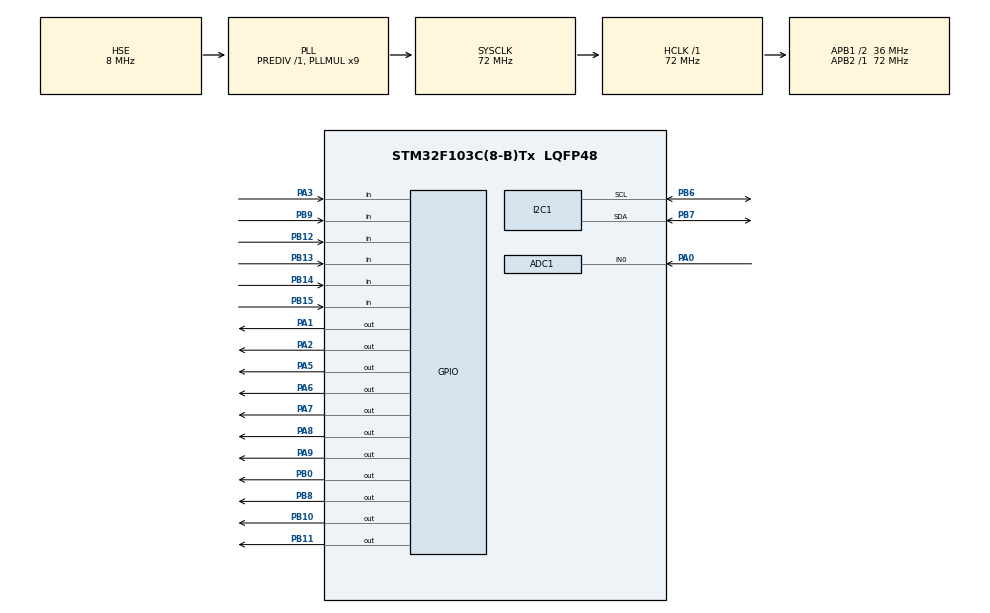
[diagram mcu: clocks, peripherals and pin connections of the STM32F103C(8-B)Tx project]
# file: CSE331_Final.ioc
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ADC1.Channel-0\#ChannelRegularConversion=ADC_CHANNEL_0
ADC1.ContinuousConvMode=ENABLE
ADC1.NbrOfConversionFlag=1
ADC1.Rank-0\#ChannelRegularConversion=1
ADC1.SamplingTime-0\#ChannelRegularConversion=ADC_SAMPLETIME_1CYCLE_5
ADC1.master=1
I2C1.I2C_Mode=I2C_Fast
Mcu.Family=STM32F1
Mcu.Name=STM32F103C(8-B)Tx
Mcu.Package=LQFP48
NVIC.PriorityGroup=NVIC_PRIORITYGROUP_4
PA0-WKUP.Signal=ADCx_IN0
PA1.GPIO_PuPd=GPIO_PULLUP
PA1.Signal=GPIO_Output
PA2.Signal=GPIO_Output
PA3.Signal=GPIO_Input
PA5.Signal=GPIO_Output
PA6.Signal=GPIO_Output
PA7.Signal=GPIO_Output
PA8.Signal=GPIO_Output
PA9.Signal=GPIO_Output
PB0.Signal=GPIO_Output
PB10.Signal=GPIO_Output
PB11.Signal=GPIO_Output
PB12.GPIO_PuPd=GPIO_PULLUP
PB12.Signal=GPIO_Input
PB13.GPIO_PuPd=GPIO_PULLUP
PB13.Signal=GPIO_Input
PB14.GPIO_PuPd=GPIO_PULLUP
PB14.Signal=GPIO_Input
PB15.GPIO_PuPd=GPIO_PULLUP
PB15.Signal=GPIO_Input
PB6.Mode=I2C
PB6.Signal=I2C1_SCL
PB7.Mode=I2C
PB7.Signal=I2C1_SDA
PB8.Signal=GPIO_Output
PB9.Signal=GPIO_Input
PD0-OSC_IN.Mode=HSE-External-Oscillator
PD0-OSC_IN.Signal=RCC_OSC_IN
PD1-OSC_OUT.Mode=HSE-External-Oscillator
PD1-OSC_OUT.Signal=RCC_OSC_OUT
ProjectManager.HeapSize=0x200
ProjectManager.StackSize=0x400
ProjectManager.TargetToolchain=STM32CubeIDE
RCC.ADCPresc=RCC_ADCPCLK2_DIV6
RCC.AHBFreq_Value=72000000
RCC.APB1CLKDivider=RCC_HCLK_DIV2
RCC.APB1Freq_Value=36000000
RCC.APB1TimFreq_Value=72000000
RCC.APB2Freq_Value=72000000
RCC.APB2TimFreq_Value=72000000
RCC.HCLKFreq_Value=72000000
RCC.PLLMUL=RCC_PLL_MUL9
RCC.PLLSourceVirtual=RCC_PLLSOURCE_HSE
RCC.SYSCLKFreq_VALUE=72000000
RCC.SYSCLKSource=RCC_SYSCLKSOURCE_PLLCLK
RCC.USBFreq_Value=72000000
SH.ADCx_IN0.0=ADC1_IN0,IN0
VP_SYS_VS_ND.Mode=No_Debug
VP_TIM1_VS_ClockSourceINT.Mode=Internal
board=custom

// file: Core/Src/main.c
/* USER CODE BEGIN Header */
/**
  ******************************************************************************
  * @file           : main.c
  * @brief          : Smart Flood Early Warning System
  ******************************************************************************
  * Sensors  : HC-SR04 (PA2/PA3), DHT11 (PA1), Soil Moisture ADC (PA0)
  * Outputs  : OLED I2C (PB6/PB7), LEDs (PA5-PA9), Buzzer (PB0)
  * Input    : 4x4 Keypad Rows PB8-PB11, Cols PB12-PB15
  * Timer    : TIM1 used for microsecond delays (prescaler set to 71 = 1us tick)
  ******************************************************************************
  */
/* USER CODE END Header */
#include "main.h"

/* USER CODE BEGIN Includes */
#include "ssd1306.h"
#include "fonts.h"
#include <string.h>
#include <stdio.h>
#include <stdlib.h>
/* USER CODE END Includes */

/* USER CODE BEGIN PTD */
typedef enum { TIER_SAFE = 0, TIER_WARNING = 1, TIER_EVACUATE = 2 } AlertTier_t;

/* Keypad-selectable OLED pages. */
typedef enum {
    SCREEN_MAIN = 0,
    SCREEN_SENSORS = 1,
    SCREEN_STATS = 2,
    SCREEN_SENSITIVITY = 3,
    SCREEN_ULTRA_DB = 4,
    SCREEN_SOIL_DRY = 5
} Screen_t;

typedef struct {
    uint8_t  buf[12];
    uint8_t  idx;
    uint8_t  count;
} RingBuf_t;

typedef struct {
    float    wl_min, wl_max;
    float    rr_min, rr_max;
    uint8_t  ri_min, ri_max;
} Stats_t;

typedef struct {
    int32_t  acc;
    uint16_t samples[8];
    uint8_t  idx;
    uint8_t  filled;
} MovAvg8_t;
/* USER CODE END PTD */

/* USER CODE BEGIN PD */
/* Distance thresholds (cm from sensor down to water surface):
   larger distance = water is safely far below = SAFE
   smaller distance = water is close to sensor  = DANGER             */
#define WL_SAFE_CM      60u
#define WL_WARN_CM      40u
#define WL_EVAC_CM      20u
#define MAX_RISE_CMS    4.0f
#define TREND_BOOST     2.5f
#define SYS_SEN_MIN     1u
#define SYS_SEN_MAX     10u
#define ULTRA_MIN_CM    2.0f
#define ULTRA_MAX_CM    250.0f
#define PSAVE_SECS      3600u
#define SAMPLE_MS       500u
#define PSAVE_MS        5000u
#define DHT_SAMPLE_MS   2000u

/* Displayed water level is inverted using this depth */
#define WL_DEPTH_CM     9.0f

/* Ultrasonic deadband tuning (key 7/9) */
#define ULTRA_DB_MIN    0.50f
#define ULTRA_DB_MAX    3.00f
#define ULTRA_DB_STEP   0.25f

/* Soil dry calibration (key 8/0) */
#define SOIL_WET_ADC    500u
#define SOIL_DRY_MIN    500u
#define SOIL_DRY_MAX    4095u
#define SOIL_DRY_STEP   150u

/* GPIO shortcuts */
#define LED_GREEN  GPIO_PIN_5
#define LED_Y1     GPIO_PIN_6
#define LED_Y2     GPIO_PIN_7
#define LED_R1     GPIO_PIN_8
#define LED_R2     GPIO_PIN_9
#define LED_PORT   GPIOA

#define BUZZER_PIN  GPIO_PIN_0
#define BUZZER_PORT GPIOB

#define TRIG_PIN  GPIO_PIN_2
#define TRIG_PORT GPIOA
#define ECHO_PIN  GPIO_PIN_3
#define ECHO_PORT GPIOA

#define DHT_PIN   GPIO_PIN_1
#define DHT_PORT  GPIOA

#define ROW1 GPIO_PIN_8
#define ROW2 GPIO_PIN_9
#define ROW3 GPIO_PIN_10
#define ROW4 GPIO_PIN_11
#define COL1 GPIO_PIN_12
#define COL2 GPIO_PIN_13
#define COL3 GPIO_PIN_14
#define COL4 GPIO_PIN_15
#define KROW_PORT GPIOB
#define KCOL_PORT GPIOB
/* USER CODE END PD */

ADC_HandleTypeDef hadc1;

I2C_HandleTypeDef hi2c1;

TIM_HandleTypeDef htim1;

/* USER CODE BEGIN PV */
static float        water_level_cm = 100.0f;
static float        water_level_display_cm = 0.0f;
static float        rise_rate_cms  = 0.0f;
static float        temperature_c  = 0.0f;
static float        humidity_pct   = 0.0f;
static uint8_t      dht_ok         = 0;       /* 1 means last DHT11 read succeeded; 0 means show DHT error */
static uint8_t      soil_pct       = 0;

static MovAvg8_t    soil_avg       = {0};
static MovAvg8_t    water_avg      = {0};           /* Moving average buffer for HC-SR04 readings */
static RingBuf_t    ri_buf         = {0};
static uint8_t      risk_index     = 0;
static AlertTier_t  current_tier   = TIER_SAFE;
static AlertTier_t  prev_tier      = TIER_SAFE;

static Stats_t      stats          = {999,0,999,0,255,0};
static uint32_t     stable_secs    = 0;
static uint8_t      power_save     = 0;
static Screen_t     current_screen = SCREEN_MAIN;  /* Starts on summary page; keypad changes this */
static uint8_t      buzzer_muted   = 0;
static uint8_t      ultrasonic_ready = 0;           /* Becomes 1 after the first valid ultrasonic reading */
static uint8_t      sys_sen        = 5;             /* System sensitivity: key 5 lowers, key 6 raises */
static float        ultra_deadband_cm = 2.00f;      /* Ultrasonic deadband: key 7 lowers, key 9 raises */
static uint16_t     soil_dry_adc   = 3500;          /* Soil dry calibration: key 8 lowers, key 0 raises */
static uint32_t     sensitivity_screen_until = 0;   /* Time until the temporary SYS_SEN screen closes */
static uint32_t     ultra_screen_until = 0;         /* Time until ultrasonic deadband screen closes */
static uint32_t     soil_screen_until = 0;          /* Time until soil dry calibration screen closes */

static uint32_t     last_sample_ms = 0;
static uint32_t     last_dht_ms    = 0;
static uint32_t     last_sec_ms    = 0;
static uint32_t     last_buzz_ms   = 0;
/* USER CODE END PV */

void SystemClock_Config(void);
static void MX_GPIO_Init(void);
static void MX_ADC1_Init(void);
static void MX_I2C1_Init(void);
static void MX_TIM1_Init(void);
/* USER CODE BEGIN PFP */
static void        micro_delay(uint16_t us);
static float       HCSR04_Read_cm(void);
static void        DHT11_SetOutput(void);
static void        DHT11_SetInput(void);
static uint8_t     DHT11_Read(float *temp, float *hum);
static uint8_t     Soil_Read(void);
static uint8_t     Normalise(float val, float lo, float hi);
static void        RingBuf_Push(RingBuf_t *rb, uint8_t val);
static float       WaterAvg_Push(float cm);
static void        FormatFloat1(char *out, uint8_t out_size, float val);
static void        FormatFloat2(char *out, uint8_t out_size, float val);
static float       LeastSquaresSlope(RingBuf_t *rb);
static AlertTier_t Classify(uint8_t ri, float trend);
static void        Stats_Update(float wl, float rr, uint8_t ri);
static void        LED_SetTier(AlertTier_t tier);
static void        Buzzer_Update(AlertTier_t tier);
static char        Keypad_Scan(void);
static const char* TierText(AlertTier_t tier);
static void        OLED_ApplyDangerTheme(void);
static void        OLED_DrawRiskBar(uint8_t x0, uint8_t y0, uint8_t width, uint8_t height, uint8_t risk);
static void        OLED_MainScreen(void);
static void        OLED_SensorScreen(void);
static void        OLED_StatsScreen(void);
static void        OLED_SensitivityScreen(void);
static void        OLED_UltraDeadbandScreen(void);
static void        OLED_SoilDryScreen(void);
static void        EnterPowerSave(void);
static void        ExitPowerSave(void);
static float       WaterLevel_Display(float distance_cm);
/* USER CODE END PFP */

/* USER CODE BEGIN 0 */

/* ── Microsecond delay via TIM1 (prescaler 71 → 1 tick = 1 us @ 72 MHz) ── */
static void micro_delay(uint16_t us)
{
    __HAL_TIM_SET_COUNTER(&htim1, 0);
    while (__HAL_TIM_GET_COUNTER(&htim1) < us);
}

/* ── HC-SR04: 5-sample median, returns distance in cm ── */
static int cmp_u32(const void *a, const void *b)
{
    uint32_t ua = *(const uint32_t *)a;
    uint32_t ub = *(const uint32_t *)b;
    return (ua > ub) - (ua < ub);
}

static float HCSR04_Read_cm(void)
{
    uint32_t samples[5];
    for (int i = 0; i < 5; i++) {
        HAL_GPIO_WritePin(TRIG_PORT, TRIG_PIN, GPIO_PIN_SET);
        micro_delay(10);
        HAL_GPIO_WritePin(TRIG_PORT, TRIG_PIN, GPIO_PIN_RESET);

        uint32_t t = HAL_GetTick();
        while (!HAL_GPIO_ReadPin(ECHO_PORT, ECHO_PIN)) {
            if (HAL_GetTick() - t > 30) { samples[i] = 0; goto next; }
        }
        __HAL_TIM_SET_COUNTER(&htim1, 0);
        t = HAL_GetTick();
        while (HAL_GPIO_ReadPin(ECHO_PORT, ECHO_PIN)) {
            if (HAL_GetTick() - t > 50) break;
        }
        samples[i] = __HAL_TIM_GET_COUNTER(&htim1);
        next:
        HAL_Delay(5);
    }
    qsort(samples, 5, sizeof(uint32_t), cmp_u32);
    return (float)samples[2] * 0.034f / 2.0f;
}

/* ── DHT11 pin-mode helpers ── */
static void DHT11_SetOutput(void)
{
    GPIO_InitTypeDef g = {0};
    g.Pin   = DHT_PIN;
    g.Mode  = GPIO_MODE_OUTPUT_PP;
    g.Pull  = GPIO_NOPULL;
    g.Speed = GPIO_SPEED_FREQ_LOW;
    HAL_GPIO_Init(DHT_PORT, &g);
}

static void DHT11_SetInput(void)
{
    GPIO_InitTypeDef g = {0};
    g.Pin  = DHT_PIN;
    g.Mode = GPIO_MODE_INPUT;
    g.Pull = GPIO_PULLUP;
    HAL_GPIO_Init(DHT_PORT, &g);
}

/* ── DHT11 read — returns 1 on success ── */
static uint8_t DHT11_Read(float *temp, float *hum)
{
    uint8_t data[5] = {0};

    DHT11_SetOutput();
    HAL_GPIO_WritePin(DHT_PORT, DHT_PIN, GPIO_PIN_RESET);
    HAL_Delay(18);
    HAL_GPIO_WritePin(DHT_PORT, DHT_PIN, GPIO_PIN_SET);
    micro_delay(30);
    DHT11_SetInput();

    micro_delay(40);
    if (HAL_GPIO_ReadPin(DHT_PORT, DHT_PIN)) goto fail;
    micro_delay(80);
    if (!HAL_GPIO_ReadPin(DHT_PORT, DHT_PIN)) goto fail;
    micro_delay(80);

    for (int i = 0; i < 5; i++) {
        for (int b = 7; b >= 0; b--) {
            uint32_t t = HAL_GetTick();
            while (!HAL_GPIO_ReadPin(DHT_PORT, DHT_PIN)) {
                if (HAL_GetTick() - t > 5) goto fail;
            }
            micro_delay(40);
            if (HAL_GPIO_ReadPin(DHT_PORT, DHT_PIN)) {
                data[i] |= (1 << b);
                t = HAL_GetTick();
                while (HAL_GPIO_ReadPin(DHT_PORT, DHT_PIN)) {
                    if (HAL_GetTick() - t > 5) goto fail;
                }
            }
        }
    }

    if ((uint8_t)(data[0] + data[1] + data[2] + data[3]) != data[4]) goto fail;
    *hum  = (float)data[0] + data[1] * 0.1f;
    *temp = (float)data[2] + data[3] * 0.1f;
    DHT11_SetOutput();
    HAL_GPIO_WritePin(DHT_PORT, DHT_PIN, GPIO_PIN_SET);
    return 1;

fail:
    DHT11_SetOutput();
    HAL_GPIO_WritePin(DHT_PORT, DHT_PIN, GPIO_PIN_SET);
    return 0;
}

/* ── Soil moisture via ADC (8-sample moving average) ── */
static uint8_t Soil_Read(void)
{
    HAL_ADC_Start(&hadc1);
    HAL_ADC_PollForConversion(&hadc1, 100);
    uint16_t raw = (uint16_t)HAL_ADC_GetValue(&hadc1);
    HAL_ADC_Stop(&hadc1);

    soil_avg.acc -= soil_avg.samples[soil_avg.idx];
    soil_avg.samples[soil_avg.idx] = raw;
    soil_avg.acc += raw;
    soil_avg.idx = (soil_avg.idx + 1) % 8;
    if (!soil_avg.filled && soil_avg.idx == 0) soil_avg.filled = 1;

    uint16_t n   = soil_avg.filled ? 8 : (soil_avg.idx ? soil_avg.idx : 1);
    uint16_t avg = (uint16_t)(soil_avg.acc / n);

    uint16_t dry = soil_dry_adc;
    if (dry <= SOIL_WET_ADC) dry = SOIL_WET_ADC + 1;

    if (avg > dry) avg = dry;
    if (avg < SOIL_WET_ADC) avg = SOIL_WET_ADC;

    return (uint8_t)(100 - ((avg - SOIL_WET_ADC) * 100 / (dry - SOIL_WET_ADC)));
}

/* ── Normalise value [lo, hi] → [0, 100] ── */
static uint8_t Normalise(float val, float lo, float hi)
{
    if (val <= lo) return 0;
    if (val >= hi) return 100;
    return (uint8_t)((val - lo) * 100.0f / (hi - lo));
}

/* ── Ring buffer push ── */
static void RingBuf_Push(RingBuf_t *rb, uint8_t val)
{
    rb->buf[rb->idx] = val;
    rb->idx = (rb->idx + 1) % 12;
    if (rb->count < 12) rb->count++;
}

/* HC-SR04 moving average after the median filter.
   The median removes sudden spikes; this average smooths the remaining small movement. */
static float WaterAvg_Push(float cm)
{
    uint16_t cm_x10 = (uint16_t)(cm * 10.0f);                 /* Store one decimal place as an integer */
    water_avg.acc -= water_avg.samples[water_avg.idx];        /* Remove oldest sample from total */
    water_avg.samples[water_avg.idx] = cm_x10;                /* Save newest filtered water distance */
    water_avg.acc += cm_x10;                                  /* Add newest sample to total */
    water_avg.idx = (water_avg.idx + 1) % 8;                  /* Move circular-buffer index */
    if (!water_avg.filled && water_avg.idx == 0) water_avg.filled = 1; /* Mark full after 8 samples */

    uint16_t n = water_avg.filled ? 8 : (water_avg.idx ? water_avg.idx : 1); /* Average only real samples */
    return ((float)water_avg.acc / (float)n) / 10.0f;          /* Convert back from x10 cm to cm */
}

/* Formats a float with 1 decimal without using printf("%f").
   STM32 newlib-nano often disables float printf, so this keeps OLED values visible. */
static void FormatFloat1(char *out, uint8_t out_size, float val)
{
    int32_t scaled = (int32_t)(val * 10.0f + (val >= 0.0f ? 0.5f : -0.5f)); /* Round to 1 decimal */
    int32_t whole = scaled / 10;                                            /* Digits before decimal */
    int32_t frac  = scaled % 10;                                            /* One digit after decimal */
    if (frac < 0) frac = -frac;                                             /* Keep decimal digit positive */
    snprintf(out, out_size, "%ld.%ld", (long)whole, (long)frac);            /* Integer printf works on nano */
}

/* Same as FormatFloat1, but keeps 2 decimal places for rise rate. */
static void FormatFloat2(char *out, uint8_t out_size, float val)
{
    int32_t scaled = (int32_t)(val * 100.0f + (val >= 0.0f ? 0.5f : -0.5f)); /* Round to 2 decimals */
    int32_t whole = scaled / 100;                                           /* Digits before decimal */
    int32_t frac  = scaled % 100;                                           /* Two digits after decimal */
    if (frac < 0) frac = -frac;                                             /* Keep decimal digits positive */
    snprintf(out, out_size, "%ld.%02ld", (long)whole, (long)frac);          /* Integer printf avoids %f */
}

/* ── Least-squares slope over ring buffer (trend engine) ── */
static float LeastSquaresSlope(RingBuf_t *rb)
{
    if (rb->count < 4) return 0.0f;
    float n = (float)rb->count;
    float sx = 0, sy = 0, sxy = 0, sx2 = 0;
    for (uint8_t i = 0; i < rb->count; i++) {
        uint8_t real_idx = (uint8_t)((rb->idx + 12 - rb->count + i) % 12);
        float x = (float)i;
        float y = (float)rb->buf[real_idx];
        sx  += x;  sy  += y;
        sxy += x * y;  sx2 += x * x;
    }
    float denom = n * sx2 - sx * sx;
    return (denom == 0.0f) ? 0.0f : (n * sxy - sx * sy) / denom;
}

/* ── Alert tier classification with hysteresis + predictive boost ── */
static AlertTier_t Classify(uint8_t ri, float trend)
{
    AlertTier_t t;
    if      (ri >= 75) t = TIER_EVACUATE;
    else if (ri >= 40) t = TIER_WARNING;
    else               t = TIER_SAFE;

    if (trend > TREND_BOOST && t < TIER_EVACUATE)
        t = (AlertTier_t)(t + 1);

    if (t < current_tier) {
        if (current_tier == TIER_EVACUATE && ri > 70) t = TIER_EVACUATE;
        if (current_tier == TIER_WARNING   && ri > 35) t = TIER_WARNING;
    }
    return t;
}

/* ── Session statistics update ── */
static void Stats_Update(float wl, float rr, uint8_t ri)
{
    if (wl < stats.wl_min) stats.wl_min = wl;
    if (wl > stats.wl_max) stats.wl_max = wl;
    if (rr < stats.rr_min) stats.rr_min = rr;
    if (rr > stats.rr_max) stats.rr_max = rr;
    if (ri < stats.ri_min) stats.ri_min = ri;
    if (ri > stats.ri_max) stats.ri_max = ri;
}

/* ── LED output ── */
static void LED_SetTier(AlertTier_t tier)
{
    HAL_GPIO_WritePin(LED_PORT,
        LED_GREEN | LED_Y1 | LED_Y2 | LED_R1 | LED_R2, GPIO_PIN_RESET);

    uint16_t active_leds[5];
    uint8_t count = 0;

    /* Build sequence of LEDs that should be on based on risk */
    if (risk_index >= 0)  active_leds[count++] = LED_GREEN;
    if (risk_index >= 20) active_leds[count++] = LED_Y1;
    if (risk_index >= 40) active_leds[count++] = LED_Y2;
    if (risk_index >= 60) active_leds[count++] = LED_R1;
    if (risk_index >= 80) active_leds[count++] = LED_R2;

    /* Software multiplexing: light one LED at a time per loop to fix
       shared-resistor hardware voltage drop issues. The eye sees all of them on. */
    static uint8_t mux_idx = 0;
    mux_idx = (mux_idx + 1) % count;

    if (tier == TIER_EVACUATE) {
        if ((HAL_GetTick() / 125) % 2)
            HAL_GPIO_WritePin(LED_PORT, active_leds[mux_idx], GPIO_PIN_SET); /* Danger: blink all active LEDs */
    } else {
        HAL_GPIO_WritePin(LED_PORT, active_leds[mux_idx], GPIO_PIN_SET);     /* Normal: solid LEDs based on risk */
    }
}

/* ── Non-blocking buzzer ── */
static void Buzzer_Update(AlertTier_t tier)
{
    if (buzzer_muted || tier == TIER_SAFE) {
        HAL_GPIO_WritePin(BUZZER_PORT, BUZZER_PIN, GPIO_PIN_RESET);
        return;
    }
    uint32_t interval = (tier == TIER_WARNING) ? 500u : 125u;
    if (HAL_GetTick() - last_buzz_ms >= interval) {
        HAL_GPIO_TogglePin(BUZZER_PORT, BUZZER_PIN);
        last_buzz_ms = HAL_GetTick();
    }
}

/* ── 4x4 Keypad scan — returns key char, 0 if none pressed ── */
static char Keypad_Scan(void)
{
    static const char keys[4][4] = {
        {'1','2','3','A'},
        {'4','5','6','B'},
        {'7','8','9','C'},
        {'*','0','#','D'}
    };
    const uint16_t rows[4] = {ROW1, ROW2, ROW3, ROW4};
    const uint16_t cols[4] = {COL1, COL2, COL3, COL4};

    for (int r = 0; r < 4; r++) {
        HAL_GPIO_WritePin(KROW_PORT, ROW1 | ROW2 | ROW3 | ROW4, GPIO_PIN_SET);
        HAL_GPIO_WritePin(KROW_PORT, rows[r], GPIO_PIN_RESET);
        HAL_Delay(1);
        for (int c = 0; c < 4; c++) {
            if (!HAL_GPIO_ReadPin(KCOL_PORT, cols[c])) {
                HAL_Delay(20);
                if (!HAL_GPIO_ReadPin(KCOL_PORT, cols[c])) {
                    while (!HAL_GPIO_ReadPin(KCOL_PORT, cols[c]));
                    HAL_GPIO_WritePin(KROW_PORT,
                        ROW1 | ROW2 | ROW3 | ROW4, GPIO_PIN_SET);
                    return keys[r][c];
                }
            }
        }
    }
    HAL_GPIO_WritePin(KROW_PORT, ROW1 | ROW2 | ROW3 | ROW4, GPIO_PIN_SET);
    return 0;
}

/* Returns simple text for the alert tier so every OLED page can print it. */
static const char* TierText(AlertTier_t tier)
{
    switch (tier) {
        case TIER_SAFE:     return "SAFE";      /* Water/risk is currently low */
        case TIER_WARNING:  return "WARNING";   /* Risk is medium; be careful */
        case TIER_EVACUATE: return "EVACUATE";  /* Risk is high; alarm state */
        default:            return "UNKNOWN";   /* Backup text if tier is invalid */
    }
}

/* SSD1306 OLED is black/white only, so danger "red theme" is shown by flashing/inverting the display. */
static void OLED_ApplyDangerTheme(void)
{
    if (current_tier == TIER_EVACUATE) {                    /* Only use the alert theme at danger level */
        SSD1306_InvertDisplay((HAL_GetTick() / 250u) % 2u); /* Blink every 250 ms to imitate a red alert */
    } else {
        SSD1306_InvertDisplay(0);                           /* Keep normal black background when not danger */
    }
}

/* Draws a risk bar with 3 visual "color" zones: safe, warning, danger.
   Because SSD1306 is monochrome, patterns are used instead of real colors:
   safe = thin solid line, warning = striped fill, danger = full bright fill. */
static void OLED_DrawRiskBar(uint8_t x0, uint8_t y0, uint8_t width, uint8_t height, uint8_t risk)
{
    uint8_t fill_width = (uint8_t)((uint16_t)risk * width / 100u); /* Converts 0-100 risk into pixel width */
    uint8_t warn_x     = (uint8_t)(width * 40u / 100u);            /* Warning starts around RI 40 */
    uint8_t danger_x   = (uint8_t)(width * 75u / 100u);            /* Evacuate/danger starts around RI 75 */

    SSD1306_DrawRectangle(x0, y0, width + 1u, height + 1u, SSD1306_COLOR_WHITE); /* White outline of bar */
    SSD1306_DrawLine(x0 + warn_x, y0, x0 + warn_x, y0 + height, SSD1306_COLOR_WHITE);     /* Safe/warning mark */
    SSD1306_DrawLine(x0 + danger_x, y0, x0 + danger_x, y0 + height, SSD1306_COLOR_WHITE); /* Warning/danger mark */

    for (uint8_t x = 0; x < fill_width; x++) {
        if (x < warn_x) {
            SSD1306_DrawPixel(x0 + 1u + x, y0 + height - 1u, SSD1306_COLOR_WHITE); /* Safe zone: low thin fill */
        } else if (x < danger_x) {
            for (uint8_t y = 1u; y < height; y++) {
                if (((x + y) % 2u) == 0u) {                       /* Warning zone: checker/stripe pattern */
                    SSD1306_DrawPixel(x0 + 1u + x, y0 + y, SSD1306_COLOR_WHITE);
                }
            }
        } else {
            SSD1306_DrawLine(x0 + 1u + x, y0 + 1u, x0 + 1u + x, y0 + height - 1u,
                             SSD1306_COLOR_WHITE);                /* Danger zone: solid bright fill */
        }
    }
}

/* ── OLED main screen ──
   Layout (128x64, Font_7x10 = 7px wide, 10px tall → 18 chars/line, 6 lines)
   y=0  : Tier banner
   y=12 : Water level + rise rate
   y=24 : Humidity + soil
   y=36 : Risk index
   y=48 : Progress bar (3px tall)
   y=54 : Key hints                                                         */
static void OLED_MainScreen(void)
{
    char buf[32];
    char wl_txt[12], rr_txt[12], t_txt[12], h_txt[12]; /* Text versions of float values for OLED */

    /* Cast away const — library expects char*, not const char* */
    char *tier_labels[3] = {"   ** SAFE **   ",
                            "  ** WARNING ** ",
                            "  !!EVACUATE!!  "};

    OLED_ApplyDangerTheme();                 /* Danger level flashes/inverts the OLED like a red alert theme */
    SSD1306_Fill(SSD1306_COLOR_BLACK);

    SSD1306_GotoXY(0, 0);
    SSD1306_Puts(tier_labels[current_tier], &Font_7x10, SSD1306_COLOR_WHITE);

    FormatFloat1(wl_txt, sizeof(wl_txt), water_level_display_cm); /* Display inverted water level */
    FormatFloat2(rr_txt, sizeof(rr_txt), rise_rate_cms);          /* Convert rise rate without using %f */
    snprintf(buf, sizeof(buf), "WL:%scm R:%s", wl_txt, rr_txt);   /* Bigger buffer avoids truncation warning */
    SSD1306_GotoXY(0, 12);
    SSD1306_Puts(buf, &Font_7x10, SSD1306_COLOR_WHITE);

    if (dht_ok) {
        FormatFloat1(t_txt, sizeof(t_txt), temperature_c); /* Convert DHT temperature without using %f */
        FormatFloat1(h_txt, sizeof(h_txt), humidity_pct);  /* Convert DHT humidity without using %f */
        snprintf(buf, sizeof(buf), "T:%sC H:%s%%", t_txt, h_txt); /* DHT11 temperature + humidity */
    } else {
        snprintf(buf, sizeof(buf), "DHT:ERR check wire");  /* Shows failure instead of misleading 0 values */
    }
    SSD1306_GotoXY(0, 24);
    SSD1306_Puts(buf, &Font_7x10, SSD1306_COLOR_WHITE);

    snprintf(buf, sizeof(buf), "SOIL:%3d%% RI:%3d", soil_pct, risk_index); /* Soil ADC reading + final risk index */
    SSD1306_GotoXY(0, 36);
    SSD1306_Puts(buf, &Font_7x10, SSD1306_COLOR_WHITE);

    OLED_DrawRiskBar(0, 47, 126, 5, risk_index); /* Patterned risk bar: safe/warning/danger zones */

    if (power_save) {
        SSD1306_GotoXY(0, 54);
        SSD1306_Puts("PWR-SAVE [*]=wake", &Font_7x10, SSD1306_COLOR_WHITE);
    } else {
        snprintf(buf, sizeof(buf), "SYS_SEN:%02d 5/6", sys_sen); /* Menu shows sensitivity; key 5 lowers and 6 raises */
        SSD1306_GotoXY(0, 54);
        SSD1306_Puts(buf, &Font_7x10, SSD1306_COLOR_WHITE);
    }

    SSD1306_UpdateScreen();
}

/* OLED page that shows all live sensor readings together.
   Press keypad key 3 to switch between this page and summary. */
static void OLED_SensorScreen(void)
{
    char buf[32];  /* Bigger than OLED line so snprintf never truncates before drawing */
    char wl_txt[12], rr_txt[12], t_txt[12], h_txt[12]; /* Float text buffers that avoid printf("%f") */

    OLED_ApplyDangerTheme();                 /* Keep same danger alert theme on the sensor page */
    SSD1306_Fill(SSD1306_COLOR_BLACK);

    snprintf(buf, sizeof(buf), "DATA:%s S:%02d", TierText(current_tier), sys_sen); /* Tier + SYS_SEN always visible */
    SSD1306_GotoXY(0, 0);
    SSD1306_Puts(buf, &Font_7x10, SSD1306_COLOR_WHITE);

    FormatFloat1(wl_txt, sizeof(wl_txt), water_level_display_cm); /* Display inverted water level */
    snprintf(buf, sizeof(buf), "WL:%scm", wl_txt); /* HC-SR04 water level */
    SSD1306_GotoXY(0, 12);
    SSD1306_Puts(buf, &Font_7x10, SSD1306_COLOR_WHITE);

    FormatFloat2(rr_txt, sizeof(rr_txt), rise_rate_cms); /* Convert rise rate without using %f */
    snprintf(buf, sizeof(buf), "Rise:%scm/s", rr_txt); /* Calculated speed of rising water */
    SSD1306_GotoXY(0, 22);
    SSD1306_Puts(buf, &Font_7x10, SSD1306_COLOR_WHITE);

    if (dht_ok) {
        FormatFloat1(t_txt, sizeof(t_txt), temperature_c); /* Convert DHT temperature without using %f */
        FormatFloat1(h_txt, sizeof(h_txt), humidity_pct);  /* Convert DHT humidity without using %f */
        snprintf(buf, sizeof(buf), "T:%sC H:%s%%", t_txt, h_txt); /* DHT11 readings */
    } else {
        snprintf(buf, sizeof(buf), "DHT:ERR check wire");  /* DHT11 did not return a valid checksum */
    }
    SSD1306_GotoXY(0, 32);
    SSD1306_Puts(buf, &Font_7x10, SSD1306_COLOR_WHITE);

    snprintf(buf, sizeof(buf), "Soil:%3d%% RI:%3d", soil_pct, risk_index); /* Soil moisture + Risk Index */
    SSD1306_GotoXY(0, 42);
    SSD1306_Puts(buf, &Font_7x10, SSD1306_COLOR_WHITE);

    snprintf(buf, sizeof(buf), "5- 6+  4Stats"); /* Key hints for sensitivity and min/max page */
    SSD1306_GotoXY(0, 52);
    SSD1306_Puts(buf, &Font_7x10, SSD1306_COLOR_WHITE);

    SSD1306_UpdateScreen();
}

/* Temporary screen shown after changing SYS_SEN so you can see the new value clearly. */
static void OLED_SensitivityScreen(void)
{
    char buf[32];
    char wl_txt[12]; /* Float text buffer that avoids printf("%f") */

    OLED_ApplyDangerTheme();                     /* Still keep danger flashing if flood state is high */
    SSD1306_Fill(SSD1306_COLOR_BLACK);

    SSD1306_GotoXY(0, 0);
    SSD1306_Puts("SENSITIVITY", &Font_7x10, SSD1306_COLOR_WHITE);

    snprintf(buf, sizeof(buf), "SYS_SEN: %02d/10", sys_sen); /* Large clear sensitivity value */
    SSD1306_GotoXY(0, 16);
    SSD1306_Puts(buf, &Font_7x10, SSD1306_COLOR_WHITE);

    SSD1306_GotoXY(0, 32);
    SSD1306_Puts("5=LOW 6=HIGH", &Font_7x10, SSD1306_COLOR_WHITE); /* 5 also works for your keypad habit */

    FormatFloat1(wl_txt, sizeof(wl_txt), water_level_display_cm); /* Display inverted water level */
    snprintf(buf, sizeof(buf), "WL:%s RI:%3d", wl_txt, risk_index); /* Show live effect while tuning */
    SSD1306_GotoXY(0, 48);
    SSD1306_Puts(buf, &Font_7x10, SSD1306_COLOR_WHITE);

    SSD1306_UpdateScreen();
}

/* Temporary screen shown after changing ultrasonic deadband. */
static void OLED_UltraDeadbandScreen(void)
{
    char buf[32];
    char db_txt[12], min_txt[12], max_txt[12];

    OLED_ApplyDangerTheme();
    SSD1306_Fill(SSD1306_COLOR_BLACK);

    SSD1306_GotoXY(0, 0);
    SSD1306_Puts("ULTRA DEADBAND", &Font_7x10, SSD1306_COLOR_WHITE);

    FormatFloat2(db_txt, sizeof(db_txt), ultra_deadband_cm);
    snprintf(buf, sizeof(buf), "DB:%scm", db_txt);
    SSD1306_GotoXY(0, 16);
    SSD1306_Puts(buf, &Font_7x10, SSD1306_COLOR_WHITE);

    FormatFloat2(min_txt, sizeof(min_txt), ULTRA_DB_MIN);
    FormatFloat2(max_txt, sizeof(max_txt), ULTRA_DB_MAX);
    snprintf(buf, sizeof(buf), "MIN:%s MAX:%s", min_txt, max_txt);
    SSD1306_GotoXY(0, 32);
    SSD1306_Puts(buf, &Font_7x10, SSD1306_COLOR_WHITE);

    SSD1306_GotoXY(0, 48);
    SSD1306_Puts("7=LOW 9=HIGH", &Font_7x10, SSD1306_COLOR_WHITE);

    SSD1306_UpdateScreen();
}

/* Temporary screen shown after changing soil dry calibration. */
static void OLED_SoilDryScreen(void)
{
    char buf[32];

    OLED_ApplyDangerTheme();
    SSD1306_Fill(SSD1306_COLOR_BLACK);

    SSD1306_GotoXY(0, 0);
    SSD1306_Puts("SOIL DRY CAL", &Font_7x10, SSD1306_COLOR_WHITE);

    snprintf(buf, sizeof(buf), "DRY:%4u", soil_dry_adc);
    SSD1306_GotoXY(0, 16);
    SSD1306_Puts(buf, &Font_7x10, SSD1306_COLOR_WHITE);

    snprintf(buf, sizeof(buf), "MIN:%u MAX:%u", SOIL_DRY_MIN, SOIL_DRY_MAX);
    SSD1306_GotoXY(0, 32);
    SSD1306_Puts(buf, &Font_7x10, SSD1306_COLOR_WHITE);

    SSD1306_GotoXY(0, 48);
    SSD1306_Puts("8=LOW 0=HIGH", &Font_7x10, SSD1306_COLOR_WHITE);

    SSD1306_UpdateScreen();
}

/* ── OLED statistics screen ── */
static void OLED_StatsScreen(void)
{
    char buf[32];
    char wl_min_txt[12], wl_max_txt[12], rr_min_txt[12], rr_max_txt[12], t_txt[12], h_txt[12];

    OLED_ApplyDangerTheme();                 /* Stats page also flashes if the system reaches danger level */
    SSD1306_Fill(SSD1306_COLOR_BLACK);

    SSD1306_GotoXY(0, 0);
    SSD1306_Puts("MIN/MAX  KEY 4", &Font_7x10, SSD1306_COLOR_WHITE); /* Dedicated keypad-4 min/max menu */

    FormatFloat1(wl_min_txt, sizeof(wl_min_txt), stats.wl_min); /* Convert min water level without %f */
    FormatFloat1(wl_max_txt, sizeof(wl_max_txt), stats.wl_max); /* Convert max water level without %f */
    snprintf(buf, sizeof(buf), "WL:%s~%scm", wl_min_txt, wl_max_txt);
    SSD1306_GotoXY(0, 12);
    SSD1306_Puts(buf, &Font_7x10, SSD1306_COLOR_WHITE);

    FormatFloat2(rr_min_txt, sizeof(rr_min_txt), stats.rr_min); /* Convert min rise rate without %f */
    FormatFloat2(rr_max_txt, sizeof(rr_max_txt), stats.rr_max); /* Convert max rise rate without %f */
    snprintf(buf, sizeof(buf), "RR:%s~%s", rr_min_txt, rr_max_txt);
    SSD1306_GotoXY(0, 24);
    SSD1306_Puts(buf, &Font_7x10, SSD1306_COLOR_WHITE);

    snprintf(buf, sizeof(buf), "RI: %d ~ %d /100", stats.ri_min, stats.ri_max);
    SSD1306_GotoXY(0, 36);
    SSD1306_Puts(buf, &Font_7x10, SSD1306_COLOR_WHITE);

    if (dht_ok) {
        FormatFloat1(t_txt, sizeof(t_txt), temperature_c); /* Convert DHT temperature without %f */
        FormatFloat1(h_txt, sizeof(h_txt), humidity_pct);  /* Convert DHT humidity without %f */
        snprintf(buf, sizeof(buf), "T:%sC H:%s%%", t_txt, h_txt);
    } else {
        snprintf(buf, sizeof(buf), "DHT:ERR");
    }
    SSD1306_GotoXY(0, 48);
    SSD1306_Puts(buf, &Font_7x10, SSD1306_COLOR_WHITE);

    SSD1306_GotoXY(0, 54);
    SSD1306_Puts("[3]Next [2]Reset", &Font_7x10, SSD1306_COLOR_WHITE); /* Key 3 returns to summary page */

    SSD1306_UpdateScreen();
}

/* ── Power save helpers ── */
static void EnterPowerSave(void) { power_save = 1; }
static void ExitPowerSave(void)  { power_save = 0; stable_secs = 0; }

/* Convert ultrasonic distance into water level (0..WL_DEPTH_CM). */
static float WaterLevel_Display(float distance_cm)
{
    float wl = WL_DEPTH_CM - distance_cm;
    if (wl < 0.0f) wl = 0.0f;
    if (wl > WL_DEPTH_CM) wl = WL_DEPTH_CM;
    return wl;
}

/* USER CODE END 0 */

int main(void)
{

  /* MCU Configuration--------------------------------------------------------*/

  /* Reset of all peripherals, Initializes the Flash interface and the Systick. */
  HAL_Init();

  /* Configure the system clock */
  SystemClock_Config();

  /* Initialize all configured peripherals */
  MX_GPIO_Init();
  MX_ADC1_Init();
  MX_I2C1_Init();
  MX_TIM1_Init();
  /* USER CODE BEGIN 2 */

  /* Set TIM1 prescaler to 71 → 1 tick = 1 us at 72 MHz */
  htim1.Init.Prescaler = 71;
  HAL_TIM_Base_Init(&htim1);
  HAL_TIM_Base_Start(&htim1);

  /* Fix PB9 (ROW2): MX_GPIO_Init leaves it as input; force to output */
  {
      GPIO_InitTypeDef g = {0};
      g.Pin   = GPIO_PIN_9;
      g.Mode  = GPIO_MODE_OUTPUT_PP;
      g.Pull  = GPIO_NOPULL;
      g.Speed = GPIO_SPEED_FREQ_LOW;
      HAL_GPIO_Init(GPIOB, &g);
      HAL_GPIO_WritePin(GPIOB, GPIO_PIN_9, GPIO_PIN_SET);
  }

  /* ADC self-calibration */
  HAL_ADCEx_Calibration_Start(&hadc1);

  /* OLED startup splash */
  SSD1306_Init();
  SSD1306_Fill(SSD1306_COLOR_BLACK);
  SSD1306_GotoXY(5, 10);
  SSD1306_Puts("FLOOD WARNING", &Font_11x18, SSD1306_COLOR_WHITE);
  SSD1306_GotoXY(25, 36);
  SSD1306_Puts("SYSTEM INIT...", &Font_7x10, SSD1306_COLOR_WHITE);
  SSD1306_UpdateScreen();
  HAL_Delay(2000);

  /* Initialise stats boundaries */
  stats.wl_min = 999.0f;  stats.wl_max = 0.0f;
  stats.rr_min = 999.0f;  stats.rr_max = 0.0f;
  stats.ri_min = 255;     stats.ri_max = 0;

  last_sample_ms = HAL_GetTick();
  last_dht_ms    = HAL_GetTick() - DHT_SAMPLE_MS; /* Force one DHT11 read soon after startup */
  last_sec_ms    = HAL_GetTick();

  /* USER CODE END 2 */

  /* Infinite loop */
  /* USER CODE BEGIN WHILE */
  while (1)
  {
    uint32_t now             = HAL_GetTick();
    uint32_t sample_interval = power_save ? PSAVE_MS : SAMPLE_MS;

    /* ── Sensor sampling ── */
    if (now - last_sample_ms >= sample_interval) {
        last_sample_ms = now;

        float prev_wl = water_level_cm;

        float raw_wl = HCSR04_Read_cm();                  /* HC-SR04 already returns median of 5 echo samples */
        if (raw_wl < ULTRA_MIN_CM || raw_wl > ULTRA_MAX_CM) {
            raw_wl = water_level_cm;                       /* Ignore invalid echo/timeout so it cannot fake danger */
        }
        raw_wl = WaterAvg_Push(raw_wl);                    /* Extra moving average reduces false ultrasonic triggers */
        if (!ultrasonic_ready) {                           /* First reading is accepted directly */
            water_level_cm = raw_wl;
            ultrasonic_ready = 1;
        } else {
            float diff = raw_wl - water_level_cm;          /* Difference between new raw value and old stable value */
            float ultra_alpha = 0.20f + (0.08f * (float)sys_sen);       /* Higher SYS_SEN = faster ultrasonic response */
            if (ultra_alpha > 1.0f) ultra_alpha = 1.0f;
            if (diff > -ultra_deadband_cm && diff < ultra_deadband_cm) {
                raw_wl = water_level_cm;                   /* Ignore tiny ultrasonic noise/jitter */
            }
            water_level_cm += ultra_alpha * (raw_wl - water_level_cm); /* Filter strength is controlled by SYS_SEN */
        }

        if (now - last_dht_ms >= DHT_SAMPLE_MS) {           /* DHT11 needs slow reads; 2 seconds is safer than 500 ms */
            last_dht_ms = now;
            dht_ok = DHT11_Read(&temperature_c, &humidity_pct); /* Keep old values if read fails */
        }
        soil_pct = Soil_Read();

        water_level_display_cm = WaterLevel_Display(water_level_cm);

        /* Rise rate (positive = water level rising toward sensor) */
        float dt_s    = (float)sample_interval / 1000.0f;
        float delta   = prev_wl - water_level_cm;
        rise_rate_cms = (delta > 0.0f) ? (delta / dt_s) : 0.0f;

        /* Composite Risk Index (0–100)
           New balance: 35% water, 15% rise, 20% humidity, 20% soil, 10% temperature.
           This keeps ultrasonic important but stops it from controlling almost everything. */
        float wl_inv = (float)WL_SAFE_CM - water_level_cm;
        if (wl_inv < 0.0f) wl_inv = 0.0f;
        uint8_t wl_s  = Normalise(wl_inv, 0.0f,
                                  (float)(WL_SAFE_CM - WL_EVAC_CM));
        uint8_t rr_s  = Normalise(rise_rate_cms, 0.0f, MAX_RISE_CMS);
        uint8_t hum_s = Normalise(humidity_pct,  60.0f, 95.0f);
        uint8_t tmp_s = Normalise(temperature_c, 25.0f, 35.0f);

        risk_index = (uint8_t)(0.35f * (float)wl_s
                             + 0.15f * (float)rr_s
                             + 0.20f * (float)hum_s
                             + 0.20f * (float)soil_pct
                             + 0.10f * (float)tmp_s);
        if (risk_index > 100) risk_index = 100;

        /* Trend engine */
        RingBuf_Push(&ri_buf, risk_index);
        float trend = LeastSquaresSlope(&ri_buf);

        prev_tier    = current_tier;
        current_tier = Classify(risk_index, trend);

        /* Auto-unmute on escalation */
        if (current_tier > prev_tier) buzzer_muted = 0;

        Stats_Update(water_level_display_cm, rise_rate_cms, risk_index);
    }

    /* ── 1-second tick: power-save counter ── */
    if (now - last_sec_ms >= 1000u) {
        last_sec_ms = now;
        if (current_tier == TIER_SAFE) {
            stable_secs++;
            if (stable_secs >= PSAVE_SECS) EnterPowerSave();
        } else {
            stable_secs = 0;
            ExitPowerSave();
        }
    }

    /* ── Outputs ── */
    LED_SetTier(current_tier);
    Buzzer_Update(current_tier);

    if (current_screen == SCREEN_SENSITIVITY &&
        sensitivity_screen_until != 0 &&
        now > sensitivity_screen_until) {
        current_screen = SCREEN_SENSORS;
        sensitivity_screen_until = 0;
    }

    if (current_screen == SCREEN_ULTRA_DB &&
        ultra_screen_until != 0 &&
        now > ultra_screen_until) {
        current_screen = SCREEN_SENSORS;
        ultra_screen_until = 0;
    }

    if (current_screen == SCREEN_SOIL_DRY &&
        soil_screen_until != 0 &&
        now > soil_screen_until) {
        current_screen = SCREEN_SENSORS;
        soil_screen_until = 0;
    }

    if (current_screen == SCREEN_MAIN) {
        OLED_MainScreen();
    } else if (current_screen == SCREEN_SENSORS) {
        OLED_SensorScreen();
    } else if (current_screen == SCREEN_STATS) {
        OLED_StatsScreen();
    } else if (current_screen == SCREEN_SENSITIVITY) {
        OLED_SensitivityScreen();
    } else if (current_screen == SCREEN_ULTRA_DB) {
        OLED_UltraDeadbandScreen();
    } else {
        OLED_SoilDryScreen();
    }

    /* ── Keypad ── */
    char key = Keypad_Scan();
    switch (key) {
        case '1':
            buzzer_muted = !buzzer_muted;             /* Key 1 turns buzzer mute on/off */
            break;
        case '2':
            if (current_screen == SCREEN_STATS) {     /* On stats page, key 2 clears saved min/max values */
                stats.wl_min = 999.0f;  stats.wl_max = 0.0f; /* Reset water-level min/max */
                stats.rr_min = 999.0f;  stats.rr_max = 0.0f; /* Reset rise-rate min/max */
                stats.ri_min = 255;     stats.ri_max = 0;    /* Reset risk-index min/max */
            } else {
                NVIC_SystemReset();                   /* On other pages, key 2 restarts the board */
            }
            break;
        case '3':
            current_screen = (current_screen == SCREEN_MAIN) ? SCREEN_SENSORS : SCREEN_MAIN; /* Key 3 swaps live pages */
            break;
        case '4':
            current_screen = SCREEN_STATS;                 /* Key 4 opens dedicated min/max statistics menu */
            break;
        case '5':
            if (sys_sen > SYS_SEN_MIN) sys_sen--;          /* Key 5 lowers sensitivity if it is above minimum */
            current_screen = SCREEN_SENSITIVITY;            /* Show SYS_SEN screen immediately after changing it */
            sensitivity_screen_until = HAL_GetTick() + 2000u; /* Keep sensitivity screen visible for 2 seconds */
            break;
        case '6':
            if (sys_sen < SYS_SEN_MAX) sys_sen++;          /* Key 6 raises sensitivity if it is below maximum */
            current_screen = SCREEN_SENSITIVITY;            /* Show SYS_SEN screen immediately after changing it */
            sensitivity_screen_until = HAL_GetTick() + 2000u; /* Keep sensitivity screen visible for 2 seconds */
            break;
        case '7':
            if (ultra_deadband_cm > ULTRA_DB_MIN) ultra_deadband_cm -= ULTRA_DB_STEP;
            if (ultra_deadband_cm < ULTRA_DB_MIN) ultra_deadband_cm = ULTRA_DB_MIN;
            current_screen = SCREEN_ULTRA_DB;
            ultra_screen_until = HAL_GetTick() + 2000u;
            break;
        case '9':
            if (ultra_deadband_cm < ULTRA_DB_MAX) ultra_deadband_cm += ULTRA_DB_STEP;
            if (ultra_deadband_cm > ULTRA_DB_MAX) ultra_deadband_cm = ULTRA_DB_MAX;
            current_screen = SCREEN_ULTRA_DB;
            ultra_screen_until = HAL_GetTick() + 2000u;
            break;
        case '8':
            if (soil_dry_adc > SOIL_DRY_MIN) soil_dry_adc -= SOIL_DRY_STEP;
            if (soil_dry_adc < SOIL_DRY_MIN) soil_dry_adc = SOIL_DRY_MIN;
            current_screen = SCREEN_SOIL_DRY;
            soil_screen_until = HAL_GetTick() + 2000u;
            break;
        case '0':
            if (soil_dry_adc < SOIL_DRY_MAX) soil_dry_adc += SOIL_DRY_STEP;
            if (soil_dry_adc > SOIL_DRY_MAX) soil_dry_adc = SOIL_DRY_MAX;
            current_screen = SCREEN_SOIL_DRY;
            soil_screen_until = HAL_GetTick() + 2000u;
            break;
        case '*':
            ExitPowerSave();                          /* Star key wakes the screen from power-save mode */
            break;
        default:
            break;
    }

    /* USER CODE END WHILE */

  }
}

void SystemClock_Config(void)
{
  RCC_OscInitTypeDef RCC_OscInitStruct = {0};
  RCC_ClkInitTypeDef RCC_ClkInitStruct = {0};
  RCC_PeriphCLKInitTypeDef PeriphClkInit = {0};

  /** Initializes the RCC Oscillators according to the specified parameters
  * in the RCC_OscInitTypeDef structure.
  */
  RCC_OscInitStruct.OscillatorType = RCC_OSCILLATORTYPE_HSE;
  RCC_OscInitStruct.HSEState = RCC_HSE_ON;
  RCC_OscInitStruct.HSEPredivValue = RCC_HSE_PREDIV_DIV1;
  RCC_OscInitStruct.HSIState = RCC_HSI_ON;
  RCC_OscInitStruct.PLL.PLLState = RCC_PLL_ON;
  RCC_OscInitStruct.PLL.PLLSource = RCC_PLLSOURCE_HSE;
  RCC_OscInitStruct.PLL.PLLMUL = RCC_PLL_MUL9;
  if (HAL_RCC_OscConfig(&RCC_OscInitStruct) != HAL_OK)
  {
    Error_Handler();
  }

  /** Initializes the CPU, AHB and APB buses clocks
  */
  RCC_ClkInitStruct.ClockType = RCC_CLOCKTYPE_HCLK|RCC_CLOCKTYPE_SYSCLK
                              |RCC_CLOCKTYPE_PCLK1|RCC_CLOCKTYPE_PCLK2;
  RCC_ClkInitStruct.SYSCLKSource = RCC_SYSCLKSOURCE_PLLCLK;
  RCC_ClkInitStruct.AHBCLKDivider = RCC_SYSCLK_DIV1;
  RCC_ClkInitStruct.APB1CLKDivider = RCC_HCLK_DIV2;
  RCC_ClkInitStruct.APB2CLKDivider = RCC_HCLK_DIV1;

  if (HAL_RCC_ClockConfig(&RCC_ClkInitStruct, FLASH_LATENCY_2) != HAL_OK)
  {
    Error_Handler();
  }
  PeriphClkInit.PeriphClockSelection = RCC_PERIPHCLK_ADC;
  PeriphClkInit.AdcClockSelection = RCC_ADCPCLK2_DIV6;
  if (HAL_RCCEx_PeriphCLKConfig(&PeriphClkInit) != HAL_OK)
  {
    Error_Handler();
  }
}

static void MX_ADC1_Init(void)
{

  ADC_ChannelConfTypeDef sConfig = {0};

  /** Common config
  */
  hadc1.Instance = ADC1;
  hadc1.Init.ScanConvMode = ADC_SCAN_DISABLE;
  hadc1.Init.ContinuousConvMode = ENABLE;
  hadc1.Init.DiscontinuousConvMode = DISABLE;
  hadc1.Init.ExternalTrigConv = ADC_SOFTWARE_START;
  hadc1.Init.DataAlign = ADC_DATAALIGN_RIGHT;
  hadc1.Init.NbrOfConversion = 1;
  if (HAL_ADC_Init(&hadc1) != HAL_OK)
  {
    Error_Handler();
  }

  /** Configure Regular Channel
  */
  sConfig.Channel = ADC_CHANNEL_0;
  sConfig.Rank = ADC_REGULAR_RANK_1;
  sConfig.SamplingTime = ADC_SAMPLETIME_1CYCLE_5;
  if (HAL_ADC_ConfigChannel(&hadc1, &sConfig) != HAL_OK)
  {
    Error_Handler();
  }

}

static void MX_I2C1_Init(void)
{

  hi2c1.Instance = I2C1;
  hi2c1.Init.ClockSpeed = 400000;
  hi2c1.Init.DutyCycle = I2C_DUTYCYCLE_2;
  hi2c1.Init.OwnAddress1 = 0;
  hi2c1.Init.AddressingMode = I2C_ADDRESSINGMODE_7BIT;
  hi2c1.Init.DualAddressMode = I2C_DUALADDRESS_DISABLE;
  hi2c1.Init.OwnAddress2 = 0;
  hi2c1.Init.GeneralCallMode = I2C_GENERALCALL_DISABLE;
  hi2c1.Init.NoStretchMode = I2C_NOSTRETCH_DISABLE;
  if (HAL_I2C_Init(&hi2c1) != HAL_OK)
  {
    Error_Handler();
  }

}

static void MX_TIM1_Init(void)
{

  /* USER CODE BEGIN TIM1_Init 0 */

  __HAL_RCC_TIM1_CLK_ENABLE();
  /* USER CODE END TIM1_Init 0 */

  TIM_ClockConfigTypeDef sClockSourceConfig = {0};
  TIM_MasterConfigTypeDef sMasterConfig = {0};

  htim1.Instance = TIM1;
  htim1.Init.Prescaler = 0;
  htim1.Init.CounterMode = TIM_COUNTERMODE_UP;
  htim1.Init.Period = 65535;
  htim1.Init.ClockDivision = TIM_CLOCKDIVISION_DIV1;
  htim1.Init.RepetitionCounter = 0;
  htim1.Init.AutoReloadPreload = TIM_AUTORELOAD_PRELOAD_DISABLE;
  if (HAL_TIM_Base_Init(&htim1) != HAL_OK)
  {
    Error_Handler();
  }
  sClockSourceConfig.ClockSource = TIM_CLOCKSOURCE_INTERNAL;
  if (HAL_TIM_ConfigClockSource(&htim1, &sClockSourceConfig) != HAL_OK)
  {
    Error_Handler();
  }
  sMasterConfig.MasterOutputTrigger = TIM_TRGO_RESET;
  sMasterConfig.MasterSlaveMode = TIM_MASTERSLAVEMODE_DISABLE;
  if (HAL_TIMEx_MasterConfigSynchronization(&htim1, &sMasterConfig) != HAL_OK)
  {
    Error_Handler();
  }

}

static void MX_GPIO_Init(void)
{
  GPIO_InitTypeDef GPIO_InitStruct = {0};

  /* GPIO Ports Clock Enable */
  __HAL_RCC_GPIOD_CLK_ENABLE();
  __HAL_RCC_GPIOA_CLK_ENABLE();
  __HAL_RCC_GPIOB_CLK_ENABLE();

  /*Configure GPIO pin Output Level */
  HAL_GPIO_WritePin(GPIOA, GPIO_PIN_1|GPIO_PIN_2|GPIO_PIN_5|GPIO_PIN_6
                          |GPIO_PIN_7|GPIO_PIN_8|GPIO_PIN_9, GPIO_PIN_RESET);

  /*Configure GPIO pin Output Level */
  HAL_GPIO_WritePin(GPIOB, GPIO_PIN_0|GPIO_PIN_10|GPIO_PIN_11|GPIO_PIN_8, GPIO_PIN_RESET);

  /*Configure GPIO pins : PA1 PA2 PA5 PA6
                           PA7 PA8 PA9 */
  GPIO_InitStruct.Pin = GPIO_PIN_1|GPIO_PIN_2|GPIO_PIN_5|GPIO_PIN_6
                          |GPIO_PIN_7|GPIO_PIN_8|GPIO_PIN_9;
  GPIO_InitStruct.Mode = GPIO_MODE_OUTPUT_PP;
  GPIO_InitStruct.Pull = GPIO_NOPULL;
  GPIO_InitStruct.Speed = GPIO_SPEED_FREQ_LOW;
  HAL_GPIO_Init(GPIOA, &GPIO_InitStruct);

  /*Configure GPIO pin : PA3 */
  GPIO_InitStruct.Pin = GPIO_PIN_3;
  GPIO_InitStruct.Mode = GPIO_MODE_INPUT;
  GPIO_InitStruct.Pull = GPIO_NOPULL;
  HAL_GPIO_Init(GPIOA, &GPIO_InitStruct);

  /*Configure GPIO pins : PB0 PB10 PB11 PB8 */
  GPIO_InitStruct.Pin = GPIO_PIN_0|GPIO_PIN_10|GPIO_PIN_11|GPIO_PIN_8;
  GPIO_InitStruct.Mode = GPIO_MODE_OUTPUT_PP;
  GPIO_InitStruct.Pull = GPIO_NOPULL;
  GPIO_InitStruct.Speed = GPIO_SPEED_FREQ_LOW;
  HAL_GPIO_Init(GPIOB, &GPIO_InitStruct);

  /*Configure GPIO pins : PB12 PB13 PB14 PB15 */
  GPIO_InitStruct.Pin = GPIO_PIN_12|GPIO_PIN_13|GPIO_PIN_14|GPIO_PIN_15;
  GPIO_InitStruct.Mode = GPIO_MODE_INPUT;
  GPIO_InitStruct.Pull = GPIO_PULLUP;
  HAL_GPIO_Init(GPIOB, &GPIO_InitStruct);

  /*Configure GPIO pin : PB9 */
  GPIO_InitStruct.Pin = GPIO_PIN_9;
  GPIO_InitStruct.Mode = GPIO_MODE_INPUT;
  GPIO_InitStruct.Pull = GPIO_NOPULL;
  HAL_GPIO_Init(GPIOB, &GPIO_InitStruct);

}

void Error_Handler(void)
{
  __disable_irq();
  while (1) {}
}
